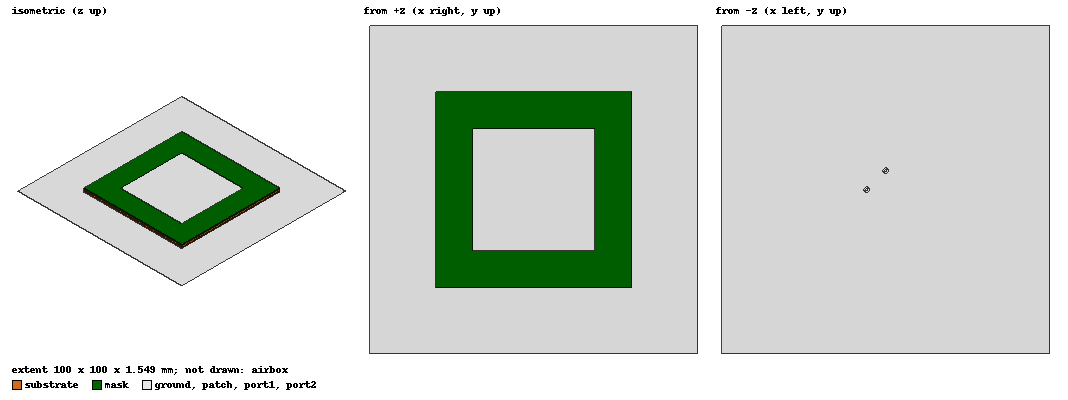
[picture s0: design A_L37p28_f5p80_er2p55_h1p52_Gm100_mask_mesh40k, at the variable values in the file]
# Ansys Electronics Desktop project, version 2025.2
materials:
  vacuum: permittivity=1
  substrate_design: permittivity=2.55 permeability=1 dielectric_loss_tangent=0.0018
  solder_mask: permittivity=3.8 permeability=1 dielectric_loss_tangent=0.025
  copper: permeability=0.999991 conductivity=58000000
  pec: conductivity=1e+30

design A_L37p28_f5p80_er2p55_h1p52_Gm100_mask_mesh40k (HFSS, HFSS Modal Network, model units mm)
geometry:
  substrate [substrate_design] = box(corner=(-30mm, -30mm, 0mm), size=(60mm, 60mm, 1.524mm))
  ground = rectangle(corner=(-50mm, -50mm, 0mm), x_size=100mm, y_size=100mm)
  hole1 = circle(normal=Z, centre=(5.8mm, 0mm, 0mm), radius=0.8mm)
  ground.subtract(hole1)
  hole2 = circle(normal=Z, centre=(0mm, 5.8mm, 0mm), radius=0.8mm)
  ground.subtract(hole2)
  patch = polyline(z=1.524mm, xy in mm: (-18.64, 18.64) (18.64, 18.64) (18.64, -18.64) (-18.64, -18.64) (-18.64, 18.64), closed, covered)
  mask [solder_mask] = box(corner=(-30mm, -30mm, 1.524mm), size=(60mm, 60mm, 0.025mm))
  mask_opening = polyline(z=1.524mm, xy in mm: (-18.64, 18.64) (18.64, 18.64) (18.64, -18.64) (-18.64, -18.64) (-18.64, 18.64), closed, covered)
  mask_opening.sweep_along_vector((0mm, 0mm, 0.025mm))
  mask.subtract(mask_opening)
  pin1 [pec] = cylinder(axis=Z, base_centre=(5.8mm, 0mm, 0mm), radius=0.25mm, height=1.524mm)
  pin1_1 = pin1.copy()
  substrate.subtract(pin1_1)
  port1 = circle(normal=Z, centre=(5.8mm, 0mm, 0mm), radius=0.8mm)
  inner1 = circle(normal=Z, centre=(5.8mm, 0mm, 0mm), radius=0.25mm)
  port1.subtract(inner1)
  pin2 [pec] = cylinder(axis=Z, base_centre=(0mm, 5.8mm, 0mm), radius=0.25mm, height=1.524mm)
  pin2_1 = pin2.copy()
  substrate.subtract(pin2_1)
  port2 = circle(normal=Z, centre=(0mm, 5.8mm, 0mm), radius=0.8mm)
  inner2 = circle(normal=Z, centre=(0mm, 5.8mm, 0mm), radius=0.25mm)
  port2.subtract(inner2)
  airbox [vacuum] = box(corner=(-80.906439mm, -80.906439mm, -30.906439mm), size=(161.81288mm, 161.81288mm, 63.361878mm))
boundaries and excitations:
  Cu_sheets: Finite Conductivity Objects=[patch, ground] UseMaterial Material=copper Roughness=0mm IsInternal
  Rad__1WCPU3: Radiation Objects=airbox
  P1: Lumped Port Objects=port1 LumpedPortType=Modal Modes{Mode1{IntLine{(6.05, 0, 0) -> (6.6, 0, 0)} CharImp=Zpi RenormImp=50ohm}} Impedance=50ohm
  P2: Lumped Port Objects=port2 LumpedPortType=Modal Modes{Mode1{IntLine{(0.25, 5.8, 0) -> (0.8, 5.8, 0)} CharImp=Zpi RenormImp=50ohm}} Impedance=50ohm
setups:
  Setup1: HfssDriven Frequency=2.425GHz MaxDeltaS=1e-05 MaximumPasses=9 MinimumPasses=1 MinimumConvergedPasses=2 PercentRefinement=30 BasisOrder=1 PortAccuracy=2 DrivenSolverType="Direct Solver"
    sweep S: 2.2GHz to 2.65GHz, 901 points; Type=Interpolating InterpTolerance=0.5 InterpMaxSolns=250 InterpUsePortImped=false PassivityErrorTolerance=0.0001
    sweep FF: 2.395GHz to 2.455GHz step 0.0025GHz; Type=Discrete SaveFields
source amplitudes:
  P1:1: 1W 0deg
  P2:1: 1W -90deg
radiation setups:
  ff: Infinite Sphere Theta=-180deg..180deg step 2deg Phi=0deg..90deg step 90deg
